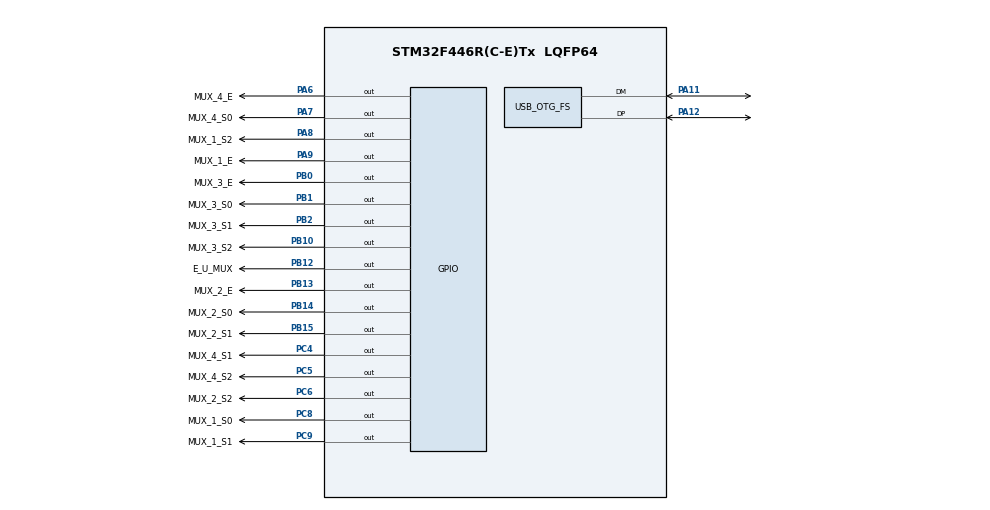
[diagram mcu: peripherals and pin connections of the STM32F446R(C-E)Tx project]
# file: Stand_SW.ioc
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Mcu.Family=STM32F4
Mcu.Name=STM32F446R(C-E)Tx
Mcu.Package=LQFP64
NVIC.OTG_FS_IRQn=true\:0\:0\:false\:false\:true\:false\:true\:true
NVIC.PriorityGroup=NVIC_PRIORITYGROUP_4
PA11.Mode=Device_Only
PA11.Signal=USB_OTG_FS_DM
PA12.Mode=Device_Only
PA12.Signal=USB_OTG_FS_DP
PA13.Mode=JTAG_5_pins
PA13.Signal=SYS_JTMS-SWDIO
PA14.Mode=JTAG_5_pins
PA14.Signal=SYS_JTCK-SWCLK
PA15.Mode=JTAG_5_pins
PA15.Signal=SYS_JTDI
PA6.GPIO_Label=MUX_4_E
PA6.Signal=GPIO_Output
PA7.GPIO_Label=MUX_4_S0
PA7.Signal=GPIO_Output
PA8.GPIO_Label=MUX_1_S2
PA8.Signal=GPIO_Output
PA9.GPIO_Label=MUX_1_E
PA9.Signal=GPIO_Output
PB0.GPIO_Label=MUX_3_E
PB0.Signal=GPIO_Output
PB1.GPIO_Label=MUX_3_S0
PB1.Signal=GPIO_Output
PB10.GPIO_Label=MUX_3_S2
PB10.Signal=GPIO_Output
PB12.GPIO_Label=E_U_MUX
PB12.Signal=GPIO_Output
PB13.GPIO_Label=MUX_2_E
PB13.Signal=GPIO_Output
PB14.GPIO_Label=MUX_2_S0
PB14.Signal=GPIO_Output
PB15.GPIO_Label=MUX_2_S1
PB15.Signal=GPIO_Output
PB2.GPIO_Label=MUX_3_S1
PB2.Signal=GPIO_Output
PB3.Mode=JTAG_5_pins
PB3.Signal=SYS_JTDO-SWO
PB4.Mode=JTAG_5_pins
PB4.Signal=SYS_JTRST
PC4.GPIO_Label=MUX_4_S1
PC4.Signal=GPIO_Output
PC5.GPIO_Label=MUX_4_S2
PC5.Signal=GPIO_Output
PC6.GPIO_Label=MUX_2_S2
PC6.Signal=GPIO_Output
PC8.GPIO_Label=MUX_1_S0
PC8.Signal=GPIO_Output
PC9.GPIO_Label=MUX_1_S1
PC9.Signal=GPIO_Output
PH0-OSC_IN.Mode=HSE-External-Oscillator
PH0-OSC_IN.Signal=RCC_OSC_IN
PH1-OSC_OUT.Mode=HSE-External-Oscillator
PH1-OSC_OUT.Signal=RCC_OSC_OUT
ProjectManager.HeapSize=0x200
ProjectManager.StackSize=0x400
ProjectManager.TargetToolchain=STM32CubeIDE
RCC.CortexFreq_Value=16000000
RCC.HSE_VALUE=14000000
RCC.PLLM=7
RCC.PLLN=72
RCC.PLLQ=3
RCC.USBFreq_Value=48000000
RCC.VCOOutputFreq_Value=144000000
USB_DEVICE.CLASS_NAME_FS=CDC
USB_DEVICE.PRODUCT_STRING_CDC_FS=Burghof Virtual ComPort
USB_DEVICE.VirtualMode-CDC_FS=Cdc
USB_DEVICE.VirtualModeFS=Cdc_FS
USB_OTG_FS.VirtualMode=Device_Only
VP_USB_DEVICE_VS_USB_DEVICE_CDC_FS.Mode=CDC_FS
board=custom

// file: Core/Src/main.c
/* USER CODE BEGIN Header */
/**
  ******************************************************************************
  * @file           : main.c
  * @brief          : Main program body
  ******************************************************************************
  * @attention
  *
  * Copyright (c) 2024 STMicroelectronics.
  * All rights reserved.
  *
  * This software is licensed under terms that can be found in the LICENSE file
  * in the root directory of this software component.
  * If no LICENSE file comes with this software, it is provided AS-IS.
  *
  ******************************************************************************
  */
/* USER CODE END Header */
#include "main.h"
#include "usb_device.h"
#include "gpio.h"

#include "usbd_cdc_if.h"

/* USER CODE BEGIN PTD */
struct point
{
    unsigned char x:7;   // 0-7
};

// для разбиения по битам
union code
{
    struct point p;
    struct{
        unsigned a0:1;
        unsigned a1:1;
        unsigned a2:1;
        unsigned a3:1;
        unsigned a4:1;
        unsigned a5:1;
        unsigned a6:1;
        unsigned a7:1;
    } byte;
};
/* USER CODE END PTD */

/* USER CODE BEGIN PV */
// ответ на запрос
uint8_t ID[1]={0xBB};

// ответ на команду включения, что мы не зависли и отвечаем
uint8_t ANTWORT[1]={0xEE};

// входной буфер
uint8_t RxData[1] = {0};

/* USER CODE END PV */

void SystemClock_Config(void);
/* USER CODE BEGIN PFP */
void Reset_all_addr_MUX(void);
void Reset_all_addr_MUX_and_U_MUX(void);
void Init_MUX(void);
void Enable_Sensor_Current(uint8_t num);
/* USER CODE END PFP */

/* USER CODE BEGIN 0 */
// инициализация выходов мультиплексоров
void Init_MUX(void)
{
	// сначала вы адресный выходы в ноль
	Reset_all_addr_MUX();

	// подаем питание
	HAL_GPIO_WritePin(E_U_MUX_GPIO_Port, E_U_MUX_Pin, GPIO_PIN_SET);

	// задержку на переходный процесс
	HAL_Delay(100);
}

// отключение адресных выходов для всех мультиплексоров
void Reset_all_addr_MUX(void)
{
	// сначал запрет общий для всх групп, потом адреса обнуляем
	HAL_GPIO_WritePin(MUX_1_E_GPIO_Port, MUX_1_E_Pin, GPIO_PIN_RESET);
	HAL_GPIO_WritePin(MUX_2_E_GPIO_Port, MUX_2_E_Pin, GPIO_PIN_RESET);
	HAL_GPIO_WritePin(MUX_3_E_GPIO_Port, MUX_3_E_Pin, GPIO_PIN_RESET);
	HAL_GPIO_WritePin(MUX_4_E_GPIO_Port, MUX_4_E_Pin, GPIO_PIN_RESET);

	// Группа 1. Адреса
	HAL_GPIO_WritePin(MUX_1_S0_GPIO_Port, MUX_1_S0_Pin, GPIO_PIN_RESET);
	HAL_GPIO_WritePin(MUX_1_S1_GPIO_Port, MUX_1_S1_Pin, GPIO_PIN_RESET);
	HAL_GPIO_WritePin(MUX_1_S2_GPIO_Port, MUX_1_S2_Pin, GPIO_PIN_RESET);

	// Группа 2. Адреса
	HAL_GPIO_WritePin(MUX_2_S0_GPIO_Port, MUX_2_S0_Pin, GPIO_PIN_RESET);
	HAL_GPIO_WritePin(MUX_2_S1_GPIO_Port, MUX_2_S1_Pin, GPIO_PIN_RESET);
	HAL_GPIO_WritePin(MUX_2_S2_GPIO_Port, MUX_2_S2_Pin, GPIO_PIN_RESET);

	// Группа 3. Адреса
	HAL_GPIO_WritePin(MUX_3_S0_GPIO_Port, MUX_3_S0_Pin, GPIO_PIN_RESET);
	HAL_GPIO_WritePin(MUX_3_S1_GPIO_Port, MUX_3_S1_Pin, GPIO_PIN_RESET);
	HAL_GPIO_WritePin(MUX_3_S2_GPIO_Port, MUX_3_S2_Pin, GPIO_PIN_RESET);

	// Группа 4. Адреса
	HAL_GPIO_WritePin(MUX_4_S0_GPIO_Port, MUX_4_S0_Pin, GPIO_PIN_RESET);
	HAL_GPIO_WritePin(MUX_4_S1_GPIO_Port, MUX_4_S1_Pin, GPIO_PIN_RESET);
	HAL_GPIO_WritePin(MUX_4_S2_GPIO_Port, MUX_4_S2_Pin, GPIO_PIN_RESET);

}

void Reset_all_addr_MUX_and_U_MUX(void)
{
	Reset_all_addr_MUX();
	HAL_GPIO_WritePin(E_U_MUX_GPIO_Port, E_U_MUX_Pin, GPIO_PIN_RESET);
}

void Enable_Sensor_Current(uint8_t num)
{
	// отключаем все адресные выходы
	Reset_all_addr_MUX();

	/* включаем мультиплексор нужной группы----------------*/
	// Группа 1 0x01...0x8 (1...8)
	if ((num >= 0x01) && (num <= 0x08))
	{
		HAL_GPIO_WritePin(MUX_1_E_GPIO_Port, MUX_1_E_Pin, GPIO_PIN_SET);
		// включаем определенный датчик
		struct point center = {num-1};
		union code c;
		c.p = center;

		HAL_GPIO_WritePin(MUX_1_S0_GPIO_Port, MUX_1_S0_Pin, c.byte.a0);
		HAL_GPIO_WritePin(MUX_1_S1_GPIO_Port, MUX_1_S1_Pin, c.byte.a1);
		HAL_GPIO_WritePin(MUX_1_S2_GPIO_Port, MUX_1_S2_Pin, c.byte.a2);
	}
	// Группа 2 0x09...0x10 (9...16)
	if ((num >= 0x09) && (num <= 0x10))
	{
		HAL_GPIO_WritePin(MUX_2_E_GPIO_Port, MUX_2_E_Pin, GPIO_PIN_SET);
		struct point center = {num-1-8};
		union code c;
		c.p = center;

		HAL_GPIO_WritePin(MUX_2_S0_GPIO_Port, MUX_2_S0_Pin, c.byte.a0);
		HAL_GPIO_WritePin(MUX_2_S1_GPIO_Port, MUX_2_S1_Pin, c.byte.a1);
		HAL_GPIO_WritePin(MUX_2_S2_GPIO_Port, MUX_2_S2_Pin, c.byte.a2);
	}

	// Группа 3 0x11...0x18 (17...24)
	if ((num >= 0x11) && (num <= 0x18))
	{
		HAL_GPIO_WritePin(MUX_3_E_GPIO_Port, MUX_3_E_Pin, GPIO_PIN_SET);
		struct point center = {num-1-24};
		union code c;
		c.p = center;

		HAL_GPIO_WritePin(MUX_3_S0_GPIO_Port, MUX_3_S0_Pin, c.byte.a0);
		HAL_GPIO_WritePin(MUX_3_S1_GPIO_Port, MUX_3_S1_Pin, c.byte.a1);
		HAL_GPIO_WritePin(MUX_3_S2_GPIO_Port, MUX_3_S2_Pin, c.byte.a2);
	}

	// Группа 4 0x19...0x20 (25...32)
	if ((num >= 0x19) && (num <= 0x20))
	{
		HAL_GPIO_WritePin(MUX_4_E_GPIO_Port, MUX_4_E_Pin, GPIO_PIN_SET);
		struct point center = {num-1-31};
		union code c;
		c.p = center;

		HAL_GPIO_WritePin(MUX_4_S0_GPIO_Port, MUX_4_S0_Pin, c.byte.a0);
		HAL_GPIO_WritePin(MUX_4_S1_GPIO_Port, MUX_4_S1_Pin, c.byte.a1);
		HAL_GPIO_WritePin(MUX_4_S2_GPIO_Port, MUX_4_S2_Pin, c.byte.a2);
	}
}
/* USER CODE END 0 */

int main(void)
{

  /* MCU Configuration--------------------------------------------------------*/

  /* Reset of all peripherals, Initializes the Flash interface and the Systick. */
  HAL_Init();

  /* Configure the system clock */
  SystemClock_Config();

  /* Initialize all configured peripherals */
  MX_GPIO_Init();
  MX_USB_DEVICE_Init();

  /* Infinite loop */
  /* USER CODE BEGIN WHILE */
  // инициализируем выходы и подаем питание
  Init_MUX();

  while (1)
  {
    /* USER CODE END WHILE */

    /* USER CODE BEGIN 3 */
/*
	  //обработка запроса
	  CDC_Receive_FS(RxData,  (uint32_t)1);

	  // тут мы смотрим что пришло (всего 255 команд может прийти)
	  // 1. в зависимости от того какое число - включаем определенный мультиплексор
	  // 2. Если числа с 1(0x01) до 32 (0x20) - это номер датчика для включения (свободными остаются еще 223)
	  // 3. Если число 0xAA - это запрос опознания, отвечаем на это 0xBB
	  // 4. Если число 0xFE - это команда полной остановки работы мультиплексора (без отключения питания)
	  // 5. Если число 0xFF - это команда полной остановки работы мультиплексора (с отключением питания)

	  // необходимо отработать условие, что одновременно может быть включен только один датчик
	  // то есть каждый раз обнуляем все выходы
	  //

	  // если у нас присланный запрос - в диапазоне номеров датчиков
	  if ((RxData[0] > 0x00) && (RxData[0] <= 0x20))
	  {
		  Enable_Sensor_Current(RxData[0]);
		  RxData[0] = 0;
		  // передаём ответ
		  CDC_Transmit_FS(ANTWORT, 1);								// отвечаем, что выставили пин
	  }
	  // если нет
	  else
	  {
		  switch (RxData[0])
		  {
			case 0xAA: //запрос опознания, отвечаем на это 0xBB
				CDC_Transmit_FS(ID, 1);
				RxData[0] = 0;
				break;
			case 0xFE:
				// отключение адресных выходов для всех мультиплексоров
				Reset_all_addr_MUX();
				RxData[0] = 0;
				CDC_Transmit_FS(ANTWORT, 1);
				break;
			case 0xFF: //команда полной остановки работы мультиплексора (с отключением питания мультиплексоров)
				Reset_all_addr_MUX_and_U_MUX();
				CDC_Transmit_FS(ANTWORT, 1);
				RxData[0] = 0;
				break;

			default:
				//CDC_Transmit_FS(0x00, 1);
				break;

		  }
	  }
	  HAL_Delay(10);*/
	  HAL_Delay(500);
	  HAL_GPIO_TogglePin(E_U_MUX_GPIO_Port, E_U_MUX_Pin);
	  CDC_Receive_FS(RxData,  (uint32_t)1);
  }
  /* USER CODE END 3 */
}

void SystemClock_Config(void)
{
  RCC_OscInitTypeDef RCC_OscInitStruct = {0};
  RCC_ClkInitTypeDef RCC_ClkInitStruct = {0};

  /** Configure the main internal regulator output voltage
  */
  __HAL_RCC_PWR_CLK_ENABLE();
  __HAL_PWR_VOLTAGESCALING_CONFIG(PWR_REGULATOR_VOLTAGE_SCALE3);

  /** Initializes the RCC Oscillators according to the specified parameters
  * in the RCC_OscInitTypeDef structure.
  */
  RCC_OscInitStruct.OscillatorType = RCC_OSCILLATORTYPE_HSI;
  RCC_OscInitStruct.HSIState = RCC_HSI_ON;
  RCC_OscInitStruct.HSICalibrationValue = RCC_HSICALIBRATION_DEFAULT;
  RCC_OscInitStruct.PLL.PLLState = RCC_PLL_ON;
  RCC_OscInitStruct.PLL.PLLSource = RCC_PLLSOURCE_HSE;
  RCC_OscInitStruct.PLL.PLLM = 7;
  RCC_OscInitStruct.PLL.PLLN = 72;
  RCC_OscInitStruct.PLL.PLLP = RCC_PLLP_DIV2;
  RCC_OscInitStruct.PLL.PLLQ = 3;
  RCC_OscInitStruct.PLL.PLLR = 2;
  if (HAL_RCC_OscConfig(&RCC_OscInitStruct) != HAL_OK)
  {
    Error_Handler();
  }

  /** Initializes the CPU, AHB and APB buses clocks
  */
  RCC_ClkInitStruct.ClockType = RCC_CLOCKTYPE_HCLK|RCC_CLOCKTYPE_SYSCLK
                              |RCC_CLOCKTYPE_PCLK1|RCC_CLOCKTYPE_PCLK2;
  RCC_ClkInitStruct.SYSCLKSource = RCC_SYSCLKSOURCE_HSI;
  RCC_ClkInitStruct.AHBCLKDivider = RCC_SYSCLK_DIV1;
  RCC_ClkInitStruct.APB1CLKDivider = RCC_HCLK_DIV1;
  RCC_ClkInitStruct.APB2CLKDivider = RCC_HCLK_DIV1;

  if (HAL_RCC_ClockConfig(&RCC_ClkInitStruct, FLASH_LATENCY_0) != HAL_OK)
  {
    Error_Handler();
  }
}

void Error_Handler(void)
{
  __disable_irq();
  while (1)
  {
  }
}
